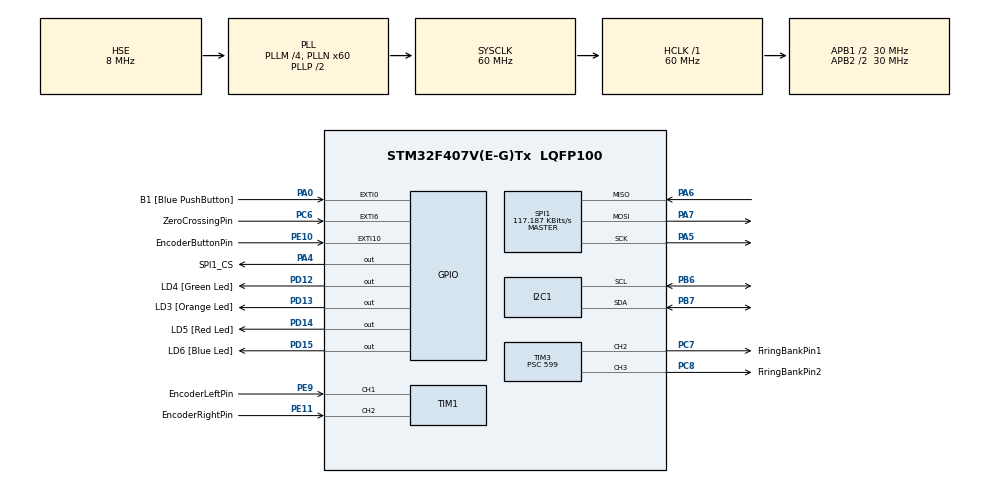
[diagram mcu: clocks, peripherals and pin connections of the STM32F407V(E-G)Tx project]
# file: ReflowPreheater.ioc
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Mcu.Family=STM32F4
Mcu.Name=STM32F407V(E-G)Tx
Mcu.Package=LQFP100
NVIC.EXTI15_10_IRQn=true\:0\:1\:false\:false\:true\:true\:true\:true
NVIC.EXTI9_5_IRQn=true\:0\:1\:false\:false\:true\:true\:true\:true
NVIC.PriorityGroup=NVIC_PRIORITYGROUP_0
NVIC.TIM2_IRQn=true\:0\:0\:false\:false\:true\:true\:true\:true
PA0-WKUP.GPIO_Label=B1 [Blue PushButton]
PA0-WKUP.Signal=GPXTI0
PA13.Mode=Serial_Wire
PA13.Signal=SYS_JTMS-SWDIO
PA14.GPIO_Label=SWCLK
PA14.Mode=Serial_Wire
PA14.Signal=SYS_JTCK-SWCLK
PA4.GPIO_Label=SPI1_CS
PA4.Signal=GPIO_Output
PA5.Mode=Full_Duplex_Master
PA5.Signal=SPI1_SCK
PA6.Mode=Full_Duplex_Master
PA6.Signal=SPI1_MISO
PA7.Mode=Full_Duplex_Master
PA7.Signal=SPI1_MOSI
PB6.Mode=I2C
PB6.Signal=I2C1_SCL
PB7.Mode=I2C
PB7.Signal=I2C1_SDA
PC14-OSC32_IN.GPIO_Label=PC14-OSC32_IN
PC14-OSC32_IN.Mode=LSE-External-Oscillator
PC14-OSC32_IN.Signal=RCC_OSC32_IN
PC15-OSC32_OUT.GPIO_Label=PC15-OSC32_OUT
PC15-OSC32_OUT.Mode=LSE-External-Oscillator
PC15-OSC32_OUT.Signal=RCC_OSC32_OUT
PC6.GPIO_Label=ZeroCrossingPin
PC6.Signal=GPXTI6
PC7.GPIO_Label=FiringBankPin1
PC7.Signal=S_TIM3_CH2
PC8.GPIO_Label=FiringBankPin2
PC8.Signal=S_TIM3_CH3
PD12.GPIO_Label=LD4 [Green Led]
PD12.GPIO_PuPd=GPIO_NOPULL
PD12.GPIO_Speed=GPIO_SPEED_FREQ_LOW
PD12.Signal=GPIO_Output
PD13.GPIO_Label=LD3 [Orange Led]
PD13.GPIO_PuPd=GPIO_NOPULL
PD13.GPIO_Speed=GPIO_SPEED_FREQ_LOW
PD13.Signal=GPIO_Output
PD14.GPIO_Label=LD5 [Red Led]
PD14.GPIO_PuPd=GPIO_NOPULL
PD14.GPIO_Speed=GPIO_SPEED_FREQ_LOW
PD14.Signal=GPIO_Output
PD15.GPIO_Label=LD6 [Blue Led]
PD15.GPIO_PuPd=GPIO_NOPULL
PD15.GPIO_Speed=GPIO_SPEED_FREQ_LOW
PD15.Signal=GPIO_Output
PE10.GPIO_Label=EncoderButtonPin
PE10.GPIO_PuPd=GPIO_PULLUP
PE10.Signal=GPXTI10
PE11.GPIO_Label=EncoderRightPin
PE11.GPIO_PuPd=GPIO_PULLUP
PE11.Signal=S_TIM1_CH2
PE9.GPIO_Label=EncoderLeftPin
PE9.GPIO_PuPd=GPIO_PULLUP
PE9.Signal=S_TIM1_CH1
PH0-OSC_IN.GPIO_Label=PH0-OSC_IN
PH0-OSC_IN.Mode=HSE-External-Oscillator
PH0-OSC_IN.Signal=RCC_OSC_IN
PH1-OSC_OUT.GPIO_Label=PH1-OSC_OUT
PH1-OSC_OUT.Mode=HSE-External-Oscillator
PH1-OSC_OUT.Signal=RCC_OSC_OUT
ProjectManager.HeapSize=0x200
ProjectManager.StackSize=0x400
ProjectManager.TargetToolchain=STM32CubeIDE
RCC.48MHZClocksFreq_Value=17142857.14285714
RCC.AHBFreq_Value=60000000
RCC.APB1CLKDivider=RCC_HCLK_DIV2
RCC.APB1Freq_Value=30000000
RCC.APB1TimFreq_Value=60000000
RCC.APB2CLKDivider=RCC_HCLK_DIV2
RCC.APB2Freq_Value=30000000
RCC.APB2TimFreq_Value=60000000
RCC.CortexFreq_Value=60000000
RCC.HCLKFreq_Value=60000000
RCC.HSE_VALUE=8000000
RCC.HSI_VALUE=16000000
RCC.PLLM=4
RCC.PLLN=60
RCC.PLLQ=7
RCC.PLLSourceVirtual=RCC_PLLSOURCE_HSE
RCC.SYSCLKFreq_VALUE=60000000
RCC.SYSCLKSource=RCC_SYSCLKSOURCE_PLLCLK
RCC.VCOOutputFreq_Value=120000000
SH.S_TIM1_CH1.0=TIM1_CH1,Encoder_Interface
SH.S_TIM1_CH2.0=TIM1_CH2,Encoder_Interface
SH.S_TIM3_CH2.0=TIM3_CH2,PWM Generation2 CH2
SH.S_TIM3_CH3.0=TIM3_CH3,PWM Generation3 CH3
SPI1.BaudRatePrescaler=SPI_BAUDRATEPRESCALER_256
SPI1.CalculateBaudRate=117.187 KBits/s
SPI1.Direction=SPI_DIRECTION_2LINES
SPI1.Mode=SPI_MODE_MASTER
SPI1.VirtualType=VM_MASTER
TIM1.AutoReloadPreload=TIM_AUTORELOAD_PRELOAD_ENABLE
TIM1.EncoderMode=TIM_ENCODERMODE_TI12
TIM1.IC1Filter=10
TIM1.IC1Polarity=TIM_ICPOLARITY_RISING
TIM1.IC2Filter=10
TIM1.IC2Polarity=TIM_ICPOLARITY_FALLING
TIM2.ClockDivision=TIM_CLOCKDIVISION_DIV1
TIM2.Period=1
TIM2.Prescaler=29999
TIM2.TIM_MasterOutputTrigger=TIM_TRGO_UPDATE
TIM3.Channel-PWM\ Generation2\ CH2=TIM_CHANNEL_2
TIM3.Channel-PWM\ Generation3\ CH3=TIM_CHANNEL_3
TIM3.Period=999
TIM3.Prescaler=599
TIM3.TIM_MasterOutputTrigger=TIM_TRGO_UPDATE
TIM6.AutoReloadPreload=TIM_AUTORELOAD_PRELOAD_ENABLE
TIM6.Prescaler=1
TIM6.TIM_MasterOutputTrigger=TIM_TRGO_UPDATE
VP_CRC_VS_CRC.Mode=CRC_Activate
VP_TIM2_VS_ClockSourceINT.Mode=Internal
VP_TIM3_VS_ClockSourceINT.Mode=Internal
VP_TIM6_VS_ClockSourceINT.Mode=Enable_Timer
board=STM32F407G-DISC1

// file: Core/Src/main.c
/* USER CODE BEGIN Header */
/**
  ******************************************************************************
  * @file           : main.c
  * @brief          : Main program body
  ******************************************************************************
  * @attention
  *
  * <h2><center>&copy; Copyright (c) 2021 STMicroelectronics.
  * All rights reserved.</center></h2>
  *
  * This software component is licensed by ST under BSD 3-Clause license,
  * the "License"; You may not use this file except in compliance with the
  * License. You may obtain a copy of the License at:
  *                        opensource.org/licenses/BSD-3-Clause
  *
  ******************************************************************************
  */
/* USER CODE END Header */
#include "main.h"

/* USER CODE BEGIN Includes */

#include "eeprom.h"
#include "variables.h"
#include "CRC32.h"
#include "stm32f4xx_hal_crc.h"
/* USER CODE END Includes */

/* USER CODE BEGIN PD */
#define BUFFER_SIZE 0x1FFFC
/* USER CODE END PD */

CRC_HandleTypeDef hcrc;

I2C_HandleTypeDef hi2c1;

SPI_HandleTypeDef hspi1;

TIM_HandleTypeDef htim1;
TIM_HandleTypeDef htim2;
TIM_HandleTypeDef htim3;
TIM_HandleTypeDef htim6;

void SystemClock_Config(void);
static void MX_GPIO_Init(void);
static void MX_I2C1_Init(void);
static void MX_TIM1_Init(void);
static void MX_SPI1_Init(void);
static void MX_TIM2_Init(void);
static void MX_TIM3_Init(void);
static void MX_TIM6_Init(void);
static void MX_CRC_Init(void);
/* USER CODE BEGIN PFP */
uint32_t Crc32(uint32_t Crc, uint32_t Data);
uint32_t crc32_check (uint8_t* buf, uint16_t len);
/* USER CODE END PFP */

/* USER CODE BEGIN 0 */

uint32_t u32_EEPromErrCnt = 0; //EEPROM error counter, if EEPROM init fails, it will increment
ReflowTemplate ReflowParameters;
uint16_t PhaseIndex_main[6] = {0};
ReflowTemplate *p_ReflowParameters;
uint16_t *p_ReflowCurve;
uint16_t *p_PhaseIndex;
msTempControlParams CtrlParams;
FLAGS StateFlag;
uint32_t u32_ChecksumValue = 0;
uint32_t BufferCount;
const uint32_t *myDataBuffer;

//uint32_t DataBuffer[2] = {0x12345678, 0x23456789};
uint32_t DataBuffer[1] = {0x11111111};
volatile uint32_t myCRCValue1 = 0xFFFFFFFF;
/* USER CODE END 0 */

int main(void)
{

  /* MCU Configuration--------------------------------------------------------*/

  /* Reset of all peripherals, Initializes the Flash interface and the Systick. */
  HAL_Init();

  /* Configure the system clock */
  SystemClock_Config();

  /* USER CODE BEGIN SysInit */
  HAL_I2C_DeInit(&hi2c1);
  /* USER CODE END SysInit */

  /* Initialize all configured peripherals */
  MX_GPIO_Init();
  MX_I2C1_Init();
  MX_TIM1_Init();
  MX_SPI1_Init();
  MX_TIM2_Init();
  MX_TIM3_Init();
  MX_TIM6_Init();
  MX_CRC_Init();
  /* USER CODE BEGIN 2 */
  //TODO add Ki and KD as parameters for entering, and add them in FEE.
  ReflowParameters.KD = 0.3;
  ReflowParameters.KP = 200; //125
  ReflowParameters.KI = 1.1;
  ReflowParameters.ReflowTempeture = 250;
  ReflowParameters.ReflowTime = 100;
  ReflowParameters.SoakTempeture = 100;
  ReflowParameters.SoakTime = 100;
  ReflowParameters.firstHeatUpRate = 2;
  ReflowParameters.secondHeatUpRate = 2;
  PID.Kp = ReflowParameters.KP;
  PID.Ki = ReflowParameters.KI;
  PID.Kd = ReflowParameters.KD;
  for(int i = 0;i < 5; i++)
{
	PhaseIndex_main[i] = 0;
}

  uint16_t u_ReflowCurve_main[REFLOW_CURVE_SIZE] = {0};
  p_ReflowParameters = &ReflowParameters;
  p_ReflowCurve = u_ReflowCurve_main;
  p_PhaseIndex = PhaseIndex_main;
  BufferCount = BUFFER_SIZE /4;
  uint32_t BufferCount2 = 1;
  myDataBuffer =(uint32_t*) 0x08040000;
  uint32_t *p_DataBuffer = DataBuffer;
  uint8_t testByte = 0;
  uint32_t R_ChecksumValue = 0;
  const char *p_StartAddress = 0x08040000;
  u32_ChecksumValue = HAL_CRC_Accumulate(&hcrc, myDataBuffer, BufferCount);

  u32_ChecksumValue = crc32_byte(p_StartAddress, BUFFER_SIZE);

  R_ChecksumValue = BE_to_SE_convert(R_ChecksumValue);

 if(0 != memcmp(&R_ChecksumValue, (void*)CRC32_CALCULATION_END_ADDRESS, 4))
 {
	 //Checksum faulty, remain in while loop
	 while(1);
 }
 else
 {
	 //do nothing
 }
 // address=find_I2C_deviceAddress();
 // HAL_Delay(2000);
  ResetFlags();
  //init_I2C_expander();
  //HAL_Delay(500);
  //lcd_clear_cmd();
  HAL_I2C_DeInit(&hi2c1);
  HAL_Delay(1000);
  HAL_I2C_Init(&hi2c1);
  HAL_Delay(1000);
 // lcd_init_2();
   lcd_init();
  HAL_Delay(20);
  lcd_clear();
  HAL_Delay(100);
  lcd_put_cur(0, 0);
  lcd_send_string("Yakamooda");
  lcd_put_cur(1, 0);
  lcd_send_string("Electronics GmBH");
  HAL_Delay(5000);

  HAL_TIM_Encoder_Start(&htim1, TIM_CHANNEL_ALL);
  HAL_TIM_Base_Start_IT(&htim2);

  HAL_Delay(500);

  /*GUI for data entry*/
  HandleGui();

  if(FALSE ==  StateFlag.StartFlag)
  {
	  calculateReflowCurve(p_ReflowParameters, p_ReflowCurve, p_PhaseIndex);
	  arm_pid_init_f32(&PID, 1);
	  /*set Reflow Start Flag */

	  StateFlag.StartFlag = TRUE;
  }

  /* USER CODE END 2 */

  /* Infinite loop */
  while (1)
  {

    /* USER CODE BEGIN 3 */
	  if (10 <= CtrlParams.counter_10ms)
	  {
		  CtrlParams.counter_10ms = 0;

	  }
	  if(250 <= CtrlParams.counter_250ms)
	  {
		  CtrlParams.counter_250ms = 0;
		  getTemperatureData(CtrlParams.p_temperature);
		  msTempControlHandler(&CtrlParams, p_ReflowCurve, p_ReflowParameters);
	  }
	  if(500 <= CtrlParams.counter_500ms)
	  {
		  CtrlParams.counter_500ms = 0;
		  CtrlParams.u16_ReflowIndexCurrent++;
		  // HAL_Delay(1);

		  updateGuiVal(&CtrlParams, p_ReflowParameters, p_PhaseIndex);

		  if( TRUE == (CtrlParams.p_StatusFlags->cooldownComplete) )
		  {
			  ReflowAgain();
		  }
		  else
		  {}
	  }
	  else
	  {

	  }

  }
  /* USER CODE END 3 */
}

void SystemClock_Config(void)
{
  RCC_OscInitTypeDef RCC_OscInitStruct = {0};
  RCC_ClkInitTypeDef RCC_ClkInitStruct = {0};

  /** Configure the main internal regulator output voltage
  */
  __HAL_RCC_PWR_CLK_ENABLE();
  __HAL_PWR_VOLTAGESCALING_CONFIG(PWR_REGULATOR_VOLTAGE_SCALE1);

  /** Initializes the RCC Oscillators according to the specified parameters
  * in the RCC_OscInitTypeDef structure.
  */
  RCC_OscInitStruct.OscillatorType = RCC_OSCILLATORTYPE_HSE;
  RCC_OscInitStruct.HSEState = RCC_HSE_ON;
  RCC_OscInitStruct.PLL.PLLState = RCC_PLL_ON;
  RCC_OscInitStruct.PLL.PLLSource = RCC_PLLSOURCE_HSE;
  RCC_OscInitStruct.PLL.PLLM = 4;
  RCC_OscInitStruct.PLL.PLLN = 60;
  RCC_OscInitStruct.PLL.PLLP = RCC_PLLP_DIV2;
  RCC_OscInitStruct.PLL.PLLQ = 7;
  if (HAL_RCC_OscConfig(&RCC_OscInitStruct) != HAL_OK)
  {
    Error_Handler();
  }

  /** Initializes the CPU, AHB and APB buses clocks
  */
  RCC_ClkInitStruct.ClockType = RCC_CLOCKTYPE_HCLK|RCC_CLOCKTYPE_SYSCLK
                              |RCC_CLOCKTYPE_PCLK1|RCC_CLOCKTYPE_PCLK2;
  RCC_ClkInitStruct.SYSCLKSource = RCC_SYSCLKSOURCE_PLLCLK;
  RCC_ClkInitStruct.AHBCLKDivider = RCC_SYSCLK_DIV1;
  RCC_ClkInitStruct.APB1CLKDivider = RCC_HCLK_DIV2;
  RCC_ClkInitStruct.APB2CLKDivider = RCC_HCLK_DIV2;

  if (HAL_RCC_ClockConfig(&RCC_ClkInitStruct, FLASH_LATENCY_1) != HAL_OK)
  {
    Error_Handler();
  }
}

static void MX_CRC_Init(void)
{

	hcrc.Instance = CRC;

  if (HAL_CRC_Init(&hcrc) != HAL_OK)
  {
    Error_Handler();
  }

}

static void MX_I2C1_Init(void)
{

  hi2c1.Instance = I2C1;
  hi2c1.Init.ClockSpeed = 100000;
  hi2c1.Init.DutyCycle = I2C_DUTYCYCLE_2;
  hi2c1.Init.OwnAddress1 = 0;
  hi2c1.Init.AddressingMode = I2C_ADDRESSINGMODE_7BIT;
  hi2c1.Init.DualAddressMode = I2C_DUALADDRESS_DISABLE;
  hi2c1.Init.OwnAddress2 = 0;
  hi2c1.Init.GeneralCallMode = I2C_GENERALCALL_DISABLE;
  hi2c1.Init.NoStretchMode = I2C_NOSTRETCH_DISABLE;
  if (HAL_I2C_Init(&hi2c1) != HAL_OK)
  {
    Error_Handler();
  }

}

static void MX_SPI1_Init(void)
{

  /* SPI1 parameter configuration*/
  hspi1.Instance = SPI1;
  hspi1.Init.Mode = SPI_MODE_MASTER;
  hspi1.Init.Direction = SPI_DIRECTION_2LINES;
  hspi1.Init.DataSize = SPI_DATASIZE_8BIT;
  hspi1.Init.CLKPolarity = SPI_POLARITY_LOW;
  hspi1.Init.CLKPhase = SPI_PHASE_1EDGE;
  hspi1.Init.NSS = SPI_NSS_SOFT;
  hspi1.Init.BaudRatePrescaler = SPI_BAUDRATEPRESCALER_256;
  hspi1.Init.FirstBit = SPI_FIRSTBIT_MSB;
  hspi1.Init.TIMode = SPI_TIMODE_DISABLE;
  hspi1.Init.CRCCalculation = SPI_CRCCALCULATION_DISABLE;
  hspi1.Init.CRCPolynomial = 10;
  if (HAL_SPI_Init(&hspi1) != HAL_OK)
  {
    Error_Handler();
  }

}

static void MX_TIM1_Init(void)
{

  TIM_Encoder_InitTypeDef sConfig = {0};
  TIM_MasterConfigTypeDef sMasterConfig = {0};

  htim1.Instance = TIM1;
  htim1.Init.Prescaler = 0;
  htim1.Init.CounterMode = TIM_COUNTERMODE_UP;
  htim1.Init.Period = 65535;
  htim1.Init.ClockDivision = TIM_CLOCKDIVISION_DIV1;
  htim1.Init.RepetitionCounter = 0;
  htim1.Init.AutoReloadPreload = TIM_AUTORELOAD_PRELOAD_ENABLE;
  sConfig.EncoderMode = TIM_ENCODERMODE_TI12;
  sConfig.IC1Polarity = TIM_ICPOLARITY_RISING;
  sConfig.IC1Selection = TIM_ICSELECTION_DIRECTTI;
  sConfig.IC1Prescaler = TIM_ICPSC_DIV1;
  sConfig.IC1Filter = 10;
  sConfig.IC2Polarity = TIM_ICPOLARITY_FALLING;
  sConfig.IC2Selection = TIM_ICSELECTION_DIRECTTI;
  sConfig.IC2Prescaler = TIM_ICPSC_DIV1;
  sConfig.IC2Filter = 10;
  if (HAL_TIM_Encoder_Init(&htim1, &sConfig) != HAL_OK)
  {
    Error_Handler();
  }
  sMasterConfig.MasterOutputTrigger = TIM_TRGO_RESET;
  sMasterConfig.MasterSlaveMode = TIM_MASTERSLAVEMODE_DISABLE;
  if (HAL_TIMEx_MasterConfigSynchronization(&htim1, &sMasterConfig) != HAL_OK)
  {
    Error_Handler();
  }

}

static void MX_TIM2_Init(void)
{

  TIM_ClockConfigTypeDef sClockSourceConfig = {0};
  TIM_MasterConfigTypeDef sMasterConfig = {0};

  htim2.Instance = TIM2;
  htim2.Init.Prescaler = 29999;
  htim2.Init.CounterMode = TIM_COUNTERMODE_UP;
  htim2.Init.Period = 1;
  htim2.Init.ClockDivision = TIM_CLOCKDIVISION_DIV1;
  htim2.Init.AutoReloadPreload = TIM_AUTORELOAD_PRELOAD_DISABLE;
  if (HAL_TIM_Base_Init(&htim2) != HAL_OK)
  {
    Error_Handler();
  }
  sClockSourceConfig.ClockSource = TIM_CLOCKSOURCE_INTERNAL;
  if (HAL_TIM_ConfigClockSource(&htim2, &sClockSourceConfig) != HAL_OK)
  {
    Error_Handler();
  }
  sMasterConfig.MasterOutputTrigger = TIM_TRGO_UPDATE;
  sMasterConfig.MasterSlaveMode = TIM_MASTERSLAVEMODE_DISABLE;
  if (HAL_TIMEx_MasterConfigSynchronization(&htim2, &sMasterConfig) != HAL_OK)
  {
    Error_Handler();
  }

}

static void MX_TIM3_Init(void)
{

  TIM_ClockConfigTypeDef sClockSourceConfig = {0};
  TIM_MasterConfigTypeDef sMasterConfig = {0};
  TIM_OC_InitTypeDef sConfigOC = {0};

  htim3.Instance = TIM3;
  htim3.Init.Prescaler = 599;
  htim3.Init.CounterMode = TIM_COUNTERMODE_UP;
  htim3.Init.Period = 999;
  htim3.Init.ClockDivision = TIM_CLOCKDIVISION_DIV1;
  htim3.Init.AutoReloadPreload = TIM_AUTORELOAD_PRELOAD_DISABLE;
  if (HAL_TIM_Base_Init(&htim3) != HAL_OK)
  {
    Error_Handler();
  }
  sClockSourceConfig.ClockSource = TIM_CLOCKSOURCE_INTERNAL;
  if (HAL_TIM_ConfigClockSource(&htim3, &sClockSourceConfig) != HAL_OK)
  {
    Error_Handler();
  }
  if (HAL_TIM_PWM_Init(&htim3) != HAL_OK)
  {
    Error_Handler();
  }
  sMasterConfig.MasterOutputTrigger = TIM_TRGO_UPDATE;
  sMasterConfig.MasterSlaveMode = TIM_MASTERSLAVEMODE_DISABLE;
  if (HAL_TIMEx_MasterConfigSynchronization(&htim3, &sMasterConfig) != HAL_OK)
  {
    Error_Handler();
  }
  sConfigOC.OCMode = TIM_OCMODE_PWM1;
  sConfigOC.Pulse = 0;
  sConfigOC.OCPolarity = TIM_OCPOLARITY_HIGH;
  sConfigOC.OCFastMode = TIM_OCFAST_DISABLE;
  if (HAL_TIM_PWM_ConfigChannel(&htim3, &sConfigOC, TIM_CHANNEL_2) != HAL_OK)
  {
    Error_Handler();
  }
  if (HAL_TIM_PWM_ConfigChannel(&htim3, &sConfigOC, TIM_CHANNEL_3) != HAL_OK)
  {
    Error_Handler();
  }
  HAL_TIM_MspPostInit(&htim3);

}

static void MX_TIM6_Init(void)
{

  TIM_MasterConfigTypeDef sMasterConfig = {0};

  htim6.Instance = TIM6;
  htim6.Init.Prescaler = 1;
  htim6.Init.CounterMode = TIM_COUNTERMODE_UP;
  htim6.Init.Period = 65535;
  htim6.Init.AutoReloadPreload = TIM_AUTORELOAD_PRELOAD_ENABLE;
  if (HAL_TIM_Base_Init(&htim6) != HAL_OK)
  {
    Error_Handler();
  }
  sMasterConfig.MasterOutputTrigger = TIM_TRGO_UPDATE;
  sMasterConfig.MasterSlaveMode = TIM_MASTERSLAVEMODE_DISABLE;
  if (HAL_TIMEx_MasterConfigSynchronization(&htim6, &sMasterConfig) != HAL_OK)
  {
    Error_Handler();
  }

}

static void MX_GPIO_Init(void)
{
  GPIO_InitTypeDef GPIO_InitStruct = {0};

  /* GPIO Ports Clock Enable */
  __HAL_RCC_GPIOC_CLK_ENABLE();
  __HAL_RCC_GPIOH_CLK_ENABLE();
  __HAL_RCC_GPIOA_CLK_ENABLE();
  __HAL_RCC_GPIOE_CLK_ENABLE();
  __HAL_RCC_GPIOD_CLK_ENABLE();
  __HAL_RCC_GPIOB_CLK_ENABLE();

  /*Configure GPIO pin Output Level */
  HAL_GPIO_WritePin(SPI1_CS_GPIO_Port, SPI1_CS_Pin, GPIO_PIN_RESET);

  /*Configure GPIO pin Output Level */
  HAL_GPIO_WritePin(GPIOD, LD4_Pin|LD3_Pin|LD5_Pin|LD6_Pin, GPIO_PIN_RESET);

  /*Configure GPIO pin : B1_Pin */
  GPIO_InitStruct.Pin = B1_Pin;
  GPIO_InitStruct.Mode = GPIO_MODE_IT_RISING;
  GPIO_InitStruct.Pull = GPIO_NOPULL;
  HAL_GPIO_Init(B1_GPIO_Port, &GPIO_InitStruct);

  /*Configure GPIO pin : SPI1_CS_Pin */
  GPIO_InitStruct.Pin = SPI1_CS_Pin;
  GPIO_InitStruct.Mode = GPIO_MODE_OUTPUT_PP;
  GPIO_InitStruct.Pull = GPIO_NOPULL;
  GPIO_InitStruct.Speed = GPIO_SPEED_FREQ_LOW;
  HAL_GPIO_Init(SPI1_CS_GPIO_Port, &GPIO_InitStruct);

  /*Configure GPIO pin : EncoderButtonPin_Pin */
  GPIO_InitStruct.Pin = EncoderButtonPin_Pin;
  GPIO_InitStruct.Mode = GPIO_MODE_IT_RISING;
  GPIO_InitStruct.Pull = GPIO_PULLUP;
  HAL_GPIO_Init(EncoderButtonPin_GPIO_Port, &GPIO_InitStruct);

  /*Configure GPIO pins : LD4_Pin LD3_Pin LD5_Pin LD6_Pin */
  GPIO_InitStruct.Pin = LD4_Pin|LD3_Pin|LD5_Pin|LD6_Pin;
  GPIO_InitStruct.Mode = GPIO_MODE_OUTPUT_PP;
  GPIO_InitStruct.Pull = GPIO_NOPULL;
  GPIO_InitStruct.Speed = GPIO_SPEED_FREQ_LOW;
  HAL_GPIO_Init(GPIOD, &GPIO_InitStruct);

  /*Configure GPIO pin : ZeroCrossingPin_Pin */
  GPIO_InitStruct.Pin = ZeroCrossingPin_Pin;
  GPIO_InitStruct.Mode = GPIO_MODE_IT_RISING;
  GPIO_InitStruct.Pull = GPIO_NOPULL;
  HAL_GPIO_Init(ZeroCrossingPin_GPIO_Port, &GPIO_InitStruct);

  /* EXTI interrupt init*/
  HAL_NVIC_SetPriority(EXTI9_5_IRQn, 0, 1);
  HAL_NVIC_EnableIRQ(EXTI9_5_IRQn);

  HAL_NVIC_SetPriority(EXTI15_10_IRQn, 0, 1);
  HAL_NVIC_EnableIRQ(EXTI15_10_IRQn);

}

/* USER CODE BEGIN 4 */
int find_I2C_deviceAddress(void)
{
	uint8_t i = 0;
	for(i = 0; i < 255; i++)
	{
		if(HAL_I2C_IsDeviceReady(&hi2c1,i,1,10) == HAL_OK)
		{
			HAL_GPIO_TogglePin(LD3_GPIO_Port, LD3_Pin);
			return i;
			break;
		}
	}
	return -1;//error
}

uint32_t Crc32(uint32_t Crc, uint32_t Data)
{
  uint8_t index;
#ifdef VERBOSE_PRINTF_CRC32
  printf("\n\rPREPARATION\tINIT_CRC=0x%08X\tDATA=0x%08X\t", Crc, Data);
#endif
  Crc = Crc ^ Data;
#ifdef VERBOSE_PRINTF_CRC32
  printf("NEW CRC=0x%8X\n\r", Crc);
#endif

  for(index=0; index < 32; index++)
  {
#ifdef VERBOSE_PRINTF_CRC32
    printf("Index=%2d\tINIT_CRC=0x%08X\tPOLY=0x04C11DB7\t",index,Crc);
#endif
    if (Crc & 0x80000000)
      Crc = (Crc << 1) ^ 0x04C11DB7; // Polynomial used in STM32
    else
      Crc = (Crc << 1);
#ifdef VERBOSE_PRINTF_CRC32
    printf("NEW CRC=0x%08X\n\r",Crc);
#endif
  }
  return(Crc);
}

uint8_t CRCenabledFlag = 0;
/*****************************************************************************
*  Calculate CRC32 in STM32 Hardware (Polyminal of STM32F1xx is fixed to 0x04C11DB7, CRC-32/BZIP2)
*  DM00068118.pdf for more Infos
******************************************************************************/
uint32_t crc32_check (uint8_t* buf, uint16_t len) {

	uint32_t* pBuffer = (uint32_t*)buf;
	uint32_t BufferLength = (len/4); //(Length of buf uint8 to Length of buf uint32 is 1 by 4)
	uint32_t index = 0;

//	if(!CRCenabledFlag) {
//		RCC_AHBPeriphClockCmd(RCC_AHBPeriph_CRC, ENABLE);
//	}
//	CRC_ResetDR();

	for(index = 0; index < BufferLength; index++) {
	   CRC->DR = __RBIT(pBuffer[index]);
	}
	return __RBIT(CRC->DR) ^ 0xFFFFFFFF;
}

/* USER CODE END 4 */

void Error_Handler(void)
{
  /* USER CODE BEGIN Error_Handler_Debug */
  /* User can add his own implementation to report the HAL error return state */
  __disable_irq();
  HAL_DeInit();
  NVIC_SystemReset(); /*Init a system reset*/
//  while (1)
//  {
//
//  }
  /* USER CODE END Error_Handler_Debug */
}
